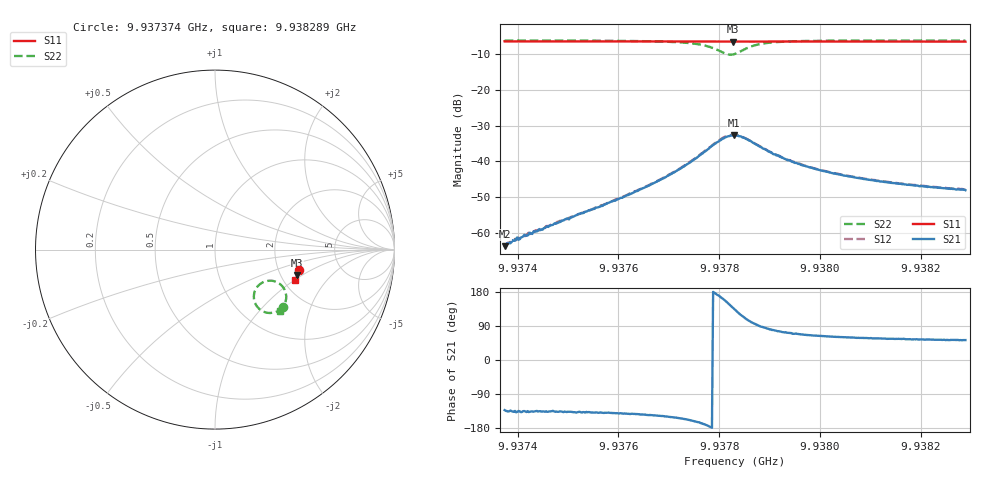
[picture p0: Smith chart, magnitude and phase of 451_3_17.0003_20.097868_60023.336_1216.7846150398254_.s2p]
#  HZ  S  RI  R  50.00
! Rohde & Schwarz Vector Network Analyzer
! Rohde-Schwarz,ZNB20-2Port,1311601062101988,3.16
! Created: UTC 3/20/2024, 11:12:17 PM
! freq[Hz]  re:S11  im:S11  re:S21  im:S21  re:S12  im:S12  re:S22  im:S22
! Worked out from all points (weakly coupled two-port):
!   401 points, 9.937374 GHz to 9.938289 GHz, reference 50 ohm
!   highest |S21| = -32.68 dB at 9.9378292 GHz (marker M1); lowest = -63.8 dB at 9.937374 GHz (marker M2)
!   lowest |S11| = -6.4 dB at 9.9378269 GHz (marker M3), VSWR 2.84, Z = 122 - j45 ohm
!   |S11| at or under -10 dB: nowhere
!   |S22| runs from -10.1 to -6.1 dB; largest |S21 - S12| = 0.0011
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9.93737396e9  0.4698 -0.1133  -0.000436 -0.000479  -0.000494 -0.000483  0.3793 -0.3216
9.93739455e9  0.4693 -0.1147  -0.00054 -0.000551  -0.000581 -0.000577  0.3778 -0.3232
9.93743344e9  0.4685 -0.1175  -0.000732 -0.000715  -0.000748 -0.000741  0.3744 -0.3262
9.93752723e9  0.4663 -0.1237  -0.00141 -0.00125  -0.00142 -0.00125  0.364 -0.3342
9.93761188e9  0.4644 -0.1293  -0.00249 -0.00202  -0.00258 -0.00201  0.3499 -0.3428
9.9376805e9  0.4627 -0.134  -0.00453 -0.00292  -0.00463 -0.00291  0.3296 -0.3503
9.93772626e9  0.4614 -0.137  -0.00739 -0.0035  -0.00759 -0.00346  0.3036 -0.3531
9.93777201e9  0.4595 -0.1401  -0.0136 -0.00231  -0.014 -0.00202  0.2541 -0.3364
9.93779031e9  0.4585 -0.1409  -0.0174 0.000716  -0.0177 0.00113  0.2281 -0.3077
9.93780632e9  0.4577 -0.1415  -0.0198 0.00614  -0.0201 0.0069  0.2164 -0.2618
9.93781776e9  0.4573 -0.1416  -0.0194 0.0114  -0.0194 0.0123  0.2267 -0.2216
9.93782691e9  0.4571 -0.1416  -0.0172 0.0154  -0.0172 0.0162  0.2495 -0.1935
9.9378292e9  0.4573 -0.1417  -0.0166 0.0163  -0.0164 0.017  0.2567 -0.188
9.93783149e9  0.4573 -0.1418  -0.0158 0.017  -0.0154 0.0177  0.2646 -0.1834
9.9378475e9  0.4577 -0.1423  -0.00894 0.0197  -0.00844 0.0202  0.321 -0.174
9.93786351e9  0.4578 -0.1431  -0.00331 0.0189  -0.00286 0.0189  0.3616 -0.1917
9.93788182e9  0.458 -0.1446  0.000395 0.0159  0.000787 0.0163  0.3853 -0.219
9.93793214e9  0.4572 -0.1485  0.0031 0.0103  0.00345 0.0103  0.3965 -0.27
9.93798476e9  0.4561 -0.1522  0.00342 0.00733  0.00359 0.00735  0.3914 -0.2957
9.9380511e9  0.4542 -0.1568  0.00316 0.00544  0.00329 0.00546  0.3835 -0.313
9.93813803e9  0.4521 -0.1625  0.00282 0.00418  0.00294 0.0042  0.3745 -0.3262
9.93828901e9  0.4478 -0.1721  0.0024 0.00314  0.00253 0.00313  0.3622 -0.3405
